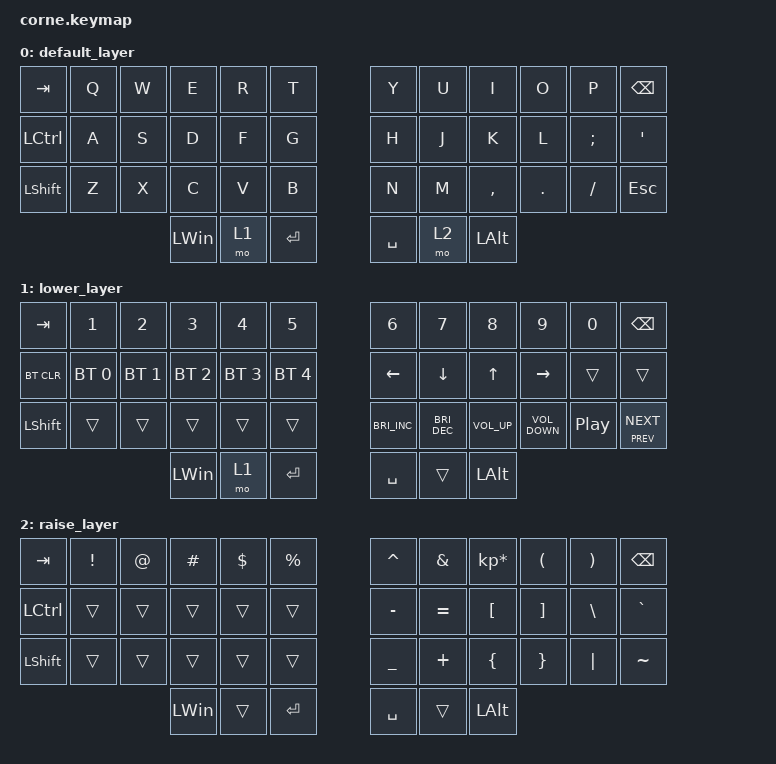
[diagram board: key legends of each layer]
/*
 * Copyright (c) 2020 The ZMK Contributors
 *
 * SPDX-License-Identifier: MIT
 */

#include <behaviors.dtsi>
#include <dt-bindings/zmk/bt.h>
#include <dt-bindings/zmk/keys.h>

/ {
    keymap {
        compatible = "zmk,keymap";

        default_layer {
            // -----------------------------------------------------------------------------------------
            // |  TAB |  Q  |  W  |  E  |  R  |  T  |   |  Y  |  U   |  I  |  O  |  P  | BKSP |
            // | CTRL |  A  |  S  |  D  |  F  |  G  |   |  H  |  J   |  K  |  L  |  ;  |  '   |
            // | SHFT |  Z  |  X  |  C  |  V  |  B  |   |  N  |  M   |  ,  |  .  |  /  | ESC  |
            //                    | GUI | LWR | SPC |   | ENT | RSE  | ALT |

            bindings = <
  &kp TAB  &kp Q  &kp W         &kp E  &kp R       &kp T        &kp Y  &kp U         &kp I    &kp O     &kp P  &kp BSPC
&kp LCTRL  &kp A  &kp S         &kp D  &kp F       &kp G        &kp H  &kp J         &kp K    &kp L  &kp SEMI   &kp SQT
&kp LSHFT  &kp Z  &kp X         &kp C  &kp V       &kp B        &kp N  &kp M     &kp COMMA  &kp DOT  &kp FSLH   &kp ESC
                         &kp LEFT_WIN  &mo 1  &kp RETURN    &kp SPACE  &mo 2  &kp LEFT_ALT
            >;
        };

        lower_layer {
            // -----------------------------------------------------------------------------------------
            // |  TAB |  1  |  2  |  3  |  4  |  5  |   |  6  |  7  |  8  |  9  |  0  | BKSP |
            // | BTCLR| BT1 | BT2 | BT3 | BT4 | BT5 |   | LFT | DWN |  UP | RGT |     |      |
            // | SHFT |     |     |     |     |     |   |     |     |     |     |     |      |
            //                    | GUI |     | SPC |   | ENT |     | ALT |

            bindings = <
   &kp TAB        &kp N1        &kp N2        &kp N3        &kp N4        &kp N5                  &kp N6                &kp N7           &kp N8             &kp N9            &kp N0           &kp BSPC
&bt BT_CLR  &bt BT_SEL 0  &bt BT_SEL 1  &bt BT_SEL 2  &bt BT_SEL 3  &bt BT_SEL 4                &kp LEFT              &kp DOWN           &kp UP          &kp RIGHT            &trans             &trans
 &kp LSHFT        &trans        &trans        &trans        &trans        &trans    &kp C_BRIGHTNESS_INC  &kp C_BRIGHTNESS_DEC  &kp C_VOLUME_UP  &kp C_VOLUME_DOWN  &kp C_PLAY_PAUSE  &mt C_PREV C_NEXT
                                        &kp LEFT_WIN         &mo 1    &kp RETURN               &kp SPACE                &trans     &kp LEFT_ALT
            >;
        };

        raise_layer {
            // -----------------------------------------------------------------------------------------
            // |  TAB |  !  |  @  |  #  |  $  |  %  |   |  ^  |  &  |  *  |  (  |  )  | BKSP |
            // | CTRL |     |     |     |     |     |   |  -  |  =  |  [  |  ]  |  \  |  `   |
            // | SHFT |     |     |     |     |     |   |  _  |  +  |  {  |  }  | "|" |  ~   |
            //                    | GUI |     | SPC |   | ENT |     | ALT |

            bindings = <
  &kp TAB  &kp EXCL  &kp AT  &kp HASH  &kp DLLR   &kp PRCNT    &kp CARET   &kp AMPS  &kp KP_MULTIPLY  &kp LPAR  &kp RPAR   &kp BSPC
&kp LCTRL    &trans  &trans    &trans    &trans      &trans    &kp MINUS  &kp EQUAL         &kp LBKT  &kp RBKT  &kp BSLH  &kp GRAVE
&kp LSHFT    &trans  &trans    &trans    &trans      &trans    &kp UNDER   &kp PLUS         &kp LBRC  &kp RBRC  &kp PIPE  &kp TILDE
                             &kp LWIN    &trans  &kp RETURN    &kp SPACE     &trans         &kp LALT
            >;
        };
    };
};
